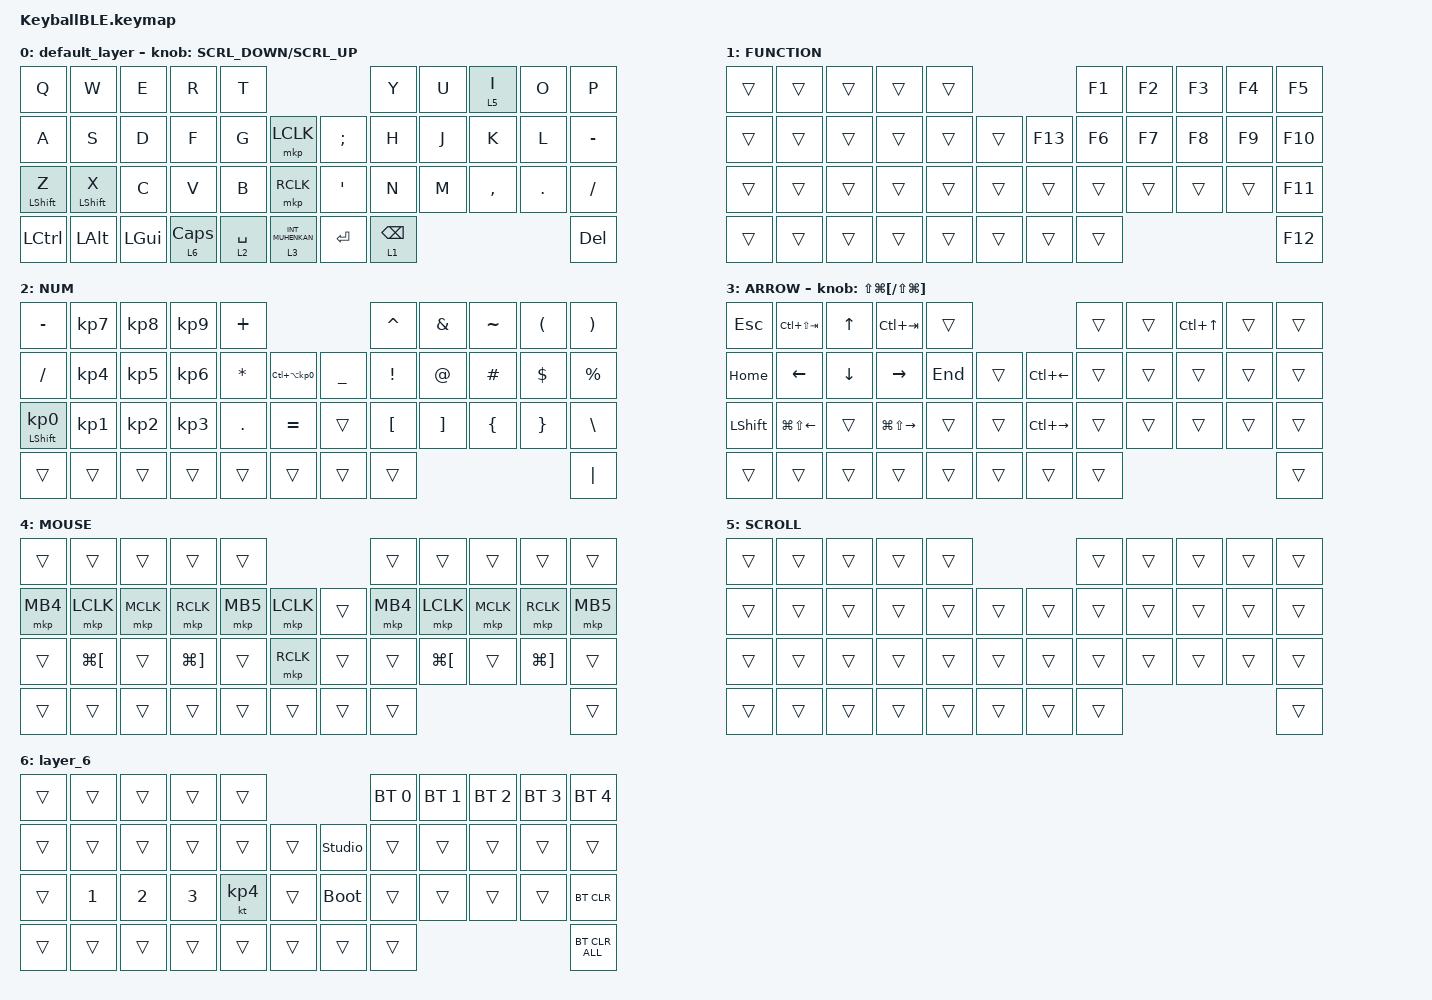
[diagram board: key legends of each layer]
#define ZMK_POINTING_DEFAULT_SCRL_VAL 120    // default: 10

#include <behaviors.dtsi>
#include <dt-bindings/zmk/bt.h>
#include <dt-bindings/zmk/keys.h>
#include <dt-bindings/zmk/pointing.h>

#define MOUSE 4
#define SCROLL 5
#define NUM 6

&mt {
    flavor = "balanced";
    quick-tap-ms = <0>;
};

/ {
    combos {
        compatible = "zmk,combos";

        double_quotation {
            bindings = <&kp DOUBLE_QUOTES>;
            key-positions = <20 21>;
        };

        TAB_COMBO {
            bindings = <&kp TAB>;
            key-positions = <11 12>;
        };

        TILDE_COMBO {
            bindings = <&kp TILDE>;
            key-positions = <8 9>;
        };
    };

    macros {
        to_layer_0: to_layer_0 {
            compatible = "zmk,behavior-macro-one-param";
            #binding-cells = <1>;
            bindings = <&to 0 &macro_param_1to1 &kp MACRO_PLACEHOLDER>;
            label = "TO_LAYER_0";
        };
    };

    behaviors {
        lt_to_layer_0: lt_to_layer_0 {
            compatible = "zmk,behavior-hold-tap";
            label = "LAYER_TAP_TO_0";
            bindings = <&mo>, <&to_layer_0>;

            #binding-cells = <2>;
            tapping-term-ms = <200>;
        };

        ROTATE: ROTATE {
            compatible = "zmk,behavior-sensor-rotate-var";
            label = "ROTATE";
            #sensor-binding-cells = <2>;
            bindings = <&msc>, <&msc>;

            tap-ms = <20>;
        };
    };

    keymap {
        compatible = "zmk,keymap";

        default_layer {
            bindings = <
&kp Q             &kp W             &kp E         &kp R           &kp T                                                  &kp Y            &kp U  &lt 5 I    &kp O    &kp P
&kp A             &kp S             &kp D         &kp F           &kp G        &mkp LCLK               &kp SEMI          &kp H            &kp J  &kp K      &kp L    &kp MINUS
&mt LEFT_SHIFT Z  &mt LEFT_SHIFT X  &kp C         &kp V           &kp B        &mkp RCLK               &kp SINGLE_QUOTE  &kp N            &kp M  &kp COMMA  &kp DOT  &kp SLASH
&kp LCTRL         &kp LEFT_ALT      &kp LEFT_GUI  &lt 6 CAPSLOCK  &lt 2 SPACE  &lt 3 INT_MUHENKAN      &kp ENTER         &lt 1 BACKSPACE                             &kp DEL
            >;

            sensor-bindings = <&ROTATE SCRL_DOWN SCRL_UP>;
        };

        FUNCTION {
            bindings = <
&trans  &trans  &trans  &trans  &trans                       &kp F1  &kp F2  &kp F3  &kp F4  &kp F5
&trans  &trans  &trans  &trans  &trans  &trans      &kp F13  &kp F6  &kp F7  &kp F8  &kp F9  &kp F10
&trans  &trans  &trans  &trans  &trans  &trans      &trans   &trans  &trans  &trans  &trans  &kp F11
&trans  &trans  &trans  &trans  &trans  &trans      &trans   &trans                          &kp F12
            >;
        };

        NUM {
            bindings = <
&kp MINUS                   &kp KP_NUMBER_7  &kp KP_NUMBER_8  &kp KP_NUMBER_9  &kp PLUS                                                   &kp CARET         &kp AMPERSAND      &kp TILDE       &kp LEFT_PARENTHESIS  &kp RIGHT_PARENTHESIS
&kp SLASH                   &kp KP_NUMBER_4  &kp KP_NUMBER_5  &kp KP_NUMBER_6  &kp ASTERISK  &kp LC(LA(KP_NUMBER_0))      &kp UNDERSCORE  &kp EXCLAMATION   &kp AT_SIGN        &kp HASH        &kp DOLLAR            &kp PERCENT
&mt LEFT_SHIFT KP_NUMBER_0  &kp KP_NUMBER_1  &kp KP_NUMBER_2  &kp KP_NUMBER_3  &kp PERIOD    &kp EQUAL                    &trans          &kp LEFT_BRACKET  &kp RIGHT_BRACKET  &kp LEFT_BRACE  &kp RIGHT_BRACE       &kp BACKSLASH
&trans                      &trans           &trans           &trans           &trans        &trans                       &trans          &trans                                                                     &kp PIPE
            >;
        };

        ARROW {
            bindings = <
&kp ESCAPE      &kp LC(LS(TAB))         &kp UP_ARROW    &kp LC(TAB)              &trans                                    &trans  &trans  &kp LC(UP_ARROW)  &trans  &trans
&kp HOME        &kp LEFT_ARROW          &kp DOWN_ARROW  &kp RIGHT_ARROW          &kp END  &trans      &kp LC(LEFT_ARROW)   &trans  &trans  &trans            &trans  &trans
&kp LEFT_SHIFT  &kp LG(LS(LEFT_ARROW))  &trans          &kp LG(LS(RIGHT_ARROW))  &trans   &trans      &kp LC(RIGHT_ARROW)  &trans  &trans  &trans            &trans  &trans
&trans          &trans                  &trans          &trans                   &trans   &trans      &trans               &trans                                    &trans
            >;

            sensor-bindings = <&inc_dec_kp LS(LG(LEFT_BRACKET)) LS(LG(RIGHT_BRACKET))>;
        };

        MOUSE {
            bindings = <
&trans    &trans                &trans     &trans                 &trans                           &trans    &trans                &trans     &trans                 &trans
&mkp MB4  &mkp LCLK             &mkp MCLK  &mkp RCLK              &mkp MB5  &mkp LCLK      &trans  &mkp MB4  &mkp LCLK             &mkp MCLK  &mkp RCLK              &mkp MB5
&trans    &kp LG(LEFT_BRACKET)  &trans     &kp LG(RIGHT_BRACKET)  &trans    &mkp RCLK      &trans  &trans    &kp LG(LEFT_BRACKET)  &trans     &kp LG(RIGHT_BRACKET)  &trans
&trans    &trans                &trans     &trans                 &trans    &trans         &trans  &trans                                                            &trans
            >;
        };

        SCROLL {
            bindings = <
&trans  &trans  &trans  &trans  &trans                      &trans  &trans  &trans  &trans  &trans
&trans  &trans  &trans  &trans  &trans  &trans      &trans  &trans  &trans  &trans  &trans  &trans
&trans  &trans  &trans  &trans  &trans  &trans      &trans  &trans  &trans  &trans  &trans  &trans
&trans  &trans  &trans  &trans  &trans  &trans      &trans  &trans                          &trans
            >;
        };

        layer_6 {
            bindings = <
&trans  &trans        &trans        &trans        &trans                                 &bt BT_SEL 0  &bt BT_SEL 1  &bt BT_SEL 2  &bt BT_SEL 3  &bt BT_SEL 4
&trans  &trans        &trans        &trans        &trans     &trans      &studio_unlock  &trans        &trans        &trans        &trans        &trans
&trans  &kp NUMBER_1  &kp NUMBER_2  &kp NUMBER_3  &kt KP_N4  &trans      &bootloader     &trans        &trans        &trans        &trans        &bt BT_CLR
&trans  &trans        &trans        &trans        &trans     &trans      &trans          &trans                                                  &bt BT_CLR_ALL
            >;
        };
    };
};
